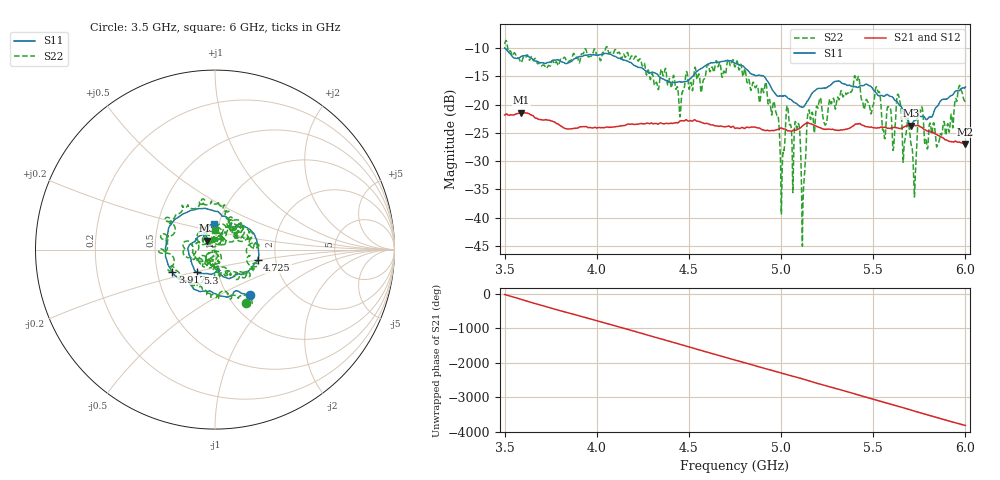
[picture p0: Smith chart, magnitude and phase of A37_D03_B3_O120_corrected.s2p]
! Created with skrf 1.9.0 (http://scikit-rf.org).
# Hz S RI R 50.0
!freq ReS11 ImS11 ReS21 ImS21 ReS12 ImS12 ReS22 ImS22
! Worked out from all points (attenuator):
!   1601 points, 3.5 GHz to 6 GHz, reference 50 ohm
!   highest |S21| = -21.40 dB at 3.591 GHz (marker M1); lowest = -26.9 dB at 6 GHz (marker M2)
!   lowest |S11| = -23.7 dB at 5.703 GHz (marker M3), VSWR 1.14, Z = 45.7 + j4.49 ohm
!   |S11| at or under -10 dB: 3.501 GHz to end of sweep
!   |S22| runs from -45.0 to -8.6 dB; largest |S21 - S12| = 0.00096
!   S11 on the Smith chart (normalised r, x): 3.5 GHz: 1.26, -0.70; 3.917 GHz: 0.60, -0.16; 4.725 GHz: 1.61, -0.19; 5.3 GHz: 0.80, -0.21; 6 GHz: 0.95, +0.28
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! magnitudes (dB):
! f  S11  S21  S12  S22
! 3.5 GHz  -10.0  -21.8  -21.8  -9.3
! 3.591 GHz  -11.4  -21.4  -21.4  -12.5
! 3.917 GHz  -11.5  -23.9  -23.9  -11.0
! 4.334 GHz  -14.8  -23.4  -23.3  -17.3
! 4.725 GHz  -12.2  -24.0  -23.9  -13.1
! 4.75 GHz  -12.7  -24.2  -24.1  -13.3
! 4.969 GHz  -18.1  -24.5  -24.5  -20.8
! 5.006 GHz  -18.5  -24.2  -24.2  -31.0
! 5.034 GHz  -18.7  -24.6  -24.5  -20.2
! 5.088 GHz  -19.9  -24.4  -24.4  -23.9
! 5.12 GHz  -20.4  -23.6  -23.6  -36.1
! 5.145 GHz  -19.3  -23.2  -23.2  -21.6
! 5.167 GHz  -18.0  -23.4  -23.4  -21.4
! 5.3 GHz  -15.9  -24.5  -24.5  -19.7
! 5.411 GHz  -16.9  -23.4  -23.4  -15.6
! 5.558 GHz  -18.5  -24.0  -24.0  -24.9
! 5.584 GHz  -18.4  -24.2  -24.1  -20.4
! 5.703 GHz  -23.7  -23.7  -23.7  -26.6
! 5.723 GHz  -22.8  -23.7  -23.6  -36.3
! 5.756 GHz  -22.1  -23.9  -23.9  -21.3
! 5.852 GHz  -20.1  -25.4  -25.4  -27.0
! 6 GHz  -16.9  -26.9  -26.9  -19.4
